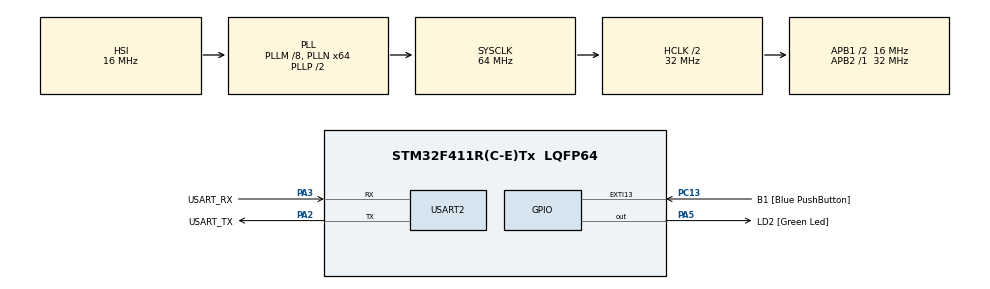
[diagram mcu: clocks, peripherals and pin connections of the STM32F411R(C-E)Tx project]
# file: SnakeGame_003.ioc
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Mcu.Family=STM32F4
Mcu.Name=STM32F411R(C-E)Tx
Mcu.Package=LQFP64
NVIC.PriorityGroup=NVIC_PRIORITYGROUP_0
NVIC.TIM2_IRQn=true\:0\:0\:false\:false\:true\:true\:true
NVIC.USART2_IRQn=true\:0\:0\:false\:false\:true\:true\:true
PA13.GPIO_Label=TMS
PA13.Mode=Serial_Wire
PA13.Signal=SYS_JTMS-SWDIO
PA14.GPIO_Label=TCK
PA14.Mode=Serial_Wire
PA14.Signal=SYS_JTCK-SWCLK
PA2.GPIO_Label=USART_TX
PA2.Mode=Asynchronous
PA2.Signal=USART2_TX
PA3.GPIO_Label=USART_RX
PA3.Mode=Asynchronous
PA3.Signal=USART2_RX
PA5.GPIO_Label=LD2 [Green Led]
PA5.Signal=GPIO_Output
PB3.GPIO_Label=SWO
PB3.Signal=SYS_JTDO-SWO
PC13-ANTI_TAMP.GPIO_Label=B1 [Blue PushButton]
PC13-ANTI_TAMP.GPIO_ModeDefaultEXTI=GPIO_MODE_IT_FALLING
PC13-ANTI_TAMP.Signal=GPXTI13
PC14-OSC32_IN.Mode=LSE-External-Oscillator
PC14-OSC32_IN.Signal=RCC_OSC32_IN
PC15-OSC32_OUT.Mode=LSE-External-Oscillator
PC15-OSC32_OUT.Signal=RCC_OSC32_OUT
PH0\ -\ OSC_IN.Mode=HSE-External-Clock-Source
PH0\ -\ OSC_IN.Signal=RCC_OSC_IN
PH1\ -\ OSC_OUT.Mode=HSE-External-Clock-Source
PH1\ -\ OSC_OUT.Signal=RCC_OSC_OUT
ProjectManager.HeapSize=0x200
ProjectManager.StackSize=0x400
ProjectManager.TargetToolchain=STM32CubeIDE
RCC.48MHZClocksFreq_Value=32000000
RCC.AHBCLKDivider=RCC_SYSCLK_DIV2
RCC.AHBFreq_Value=32000000
RCC.APB1CLKDivider=RCC_HCLK_DIV2
RCC.APB1Freq_Value=16000000
RCC.APB1TimFreq_Value=32000000
RCC.APB2Freq_Value=32000000
RCC.APB2TimFreq_Value=32000000
RCC.CortexFreq_Value=32000000
RCC.FLatency-AdvancedSettings=FLASH_LATENCY_1
RCC.HCLKFreq_Value=32000000
RCC.HSE_VALUE=8000000
RCC.HSI_VALUE=16000000
RCC.PLLM=8
RCC.PLLN=64
RCC.SYSCLKFreq_VALUE=64000000
RCC.SYSCLKSource=RCC_SYSCLKSOURCE_PLLCLK
RCC.VCOOutputFreq_Value=128000000
TIM2.Period=100
TIM2.Prescaler=32000
USART2.VirtualMode=VM_ASYNC
VP_TIM2_VS_ClockSourceINT.Mode=Internal
board=NUCLEO-F411RE

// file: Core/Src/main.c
/* USER CODE BEGIN Header */
/**
  ******************************************************************************
  * @file           : main.c
  * @brief          : Main program body
  ******************************************************************************
  * @attention
  *
  * <h2><center>&copy; Copyright (c) 2020 STMicroelectronics.
  * All rights reserved.</center></h2>
  *
  * This software component is licensed by ST under BSD 3-Clause license,
  * the "License"; You may not use this file except in compliance with the
  * License. You may obtain a copy of the License at:
  *                        opensource.org/licenses/BSD-3-Clause
  *
  ******************************************************************************
  */
/* USER CODE END Header */

#include "main.h"

/* USER CODE BEGIN PTD */
/* Initial variables */
char scene[1920];
char buffer[1];
char clearSceen_code[13]  = "\033[2J\033[H";
int update = 0;
int secondX = 0;
int minuteX = 0;
int hourX = 0;
int countX = 0;
/* USER CODE END PTD */

TIM_HandleTypeDef htim2;

UART_HandleTypeDef huart2;

void SystemClock_Config(void);
static void MX_GPIO_Init(void);
static void MX_USART2_UART_Init(void);
static void MX_TIM2_Init(void);

int main(void)
{

  /* MCU Configuration--------------------------------------------------------*/

  /* Reset of all peripherals, Initializes the Flash interface and the Systick. */
  HAL_Init();

  /* Configure the system clock */
  SystemClock_Config();

  /* Initialize all configured peripherals */
  MX_GPIO_Init();
  MX_USART2_UART_Init();
  MX_TIM2_Init();
  /* USER CODE BEGIN 2 */
  HAL_TIM_Base_Start_IT(&htim2);
  HAL_UART_Receive_IT( &huart2, buffer, 1);
  scene_clear(scene);
  scene_mainmenu(scene);
  /* USER CODE END 2 */

  /* Infinite loop */
  while (1)
  {
    /* USER CODE BEGIN 3 */
	  if (update == 1){
			HAL_UART_Transmit( &huart2, clearSceen_code, 13, 100000);
			snake_move(scene);
			snake_newFood(scene);
			snake_newObstacle(scene);
			HAL_UART_Transmit( &huart2, scene, 1920, 100000);
			update = 0;
	  }
  }
  /* USER CODE END 3 */
}

void SystemClock_Config(void)
{
  RCC_OscInitTypeDef RCC_OscInitStruct = {0};
  RCC_ClkInitTypeDef RCC_ClkInitStruct = {0};

  /** Configure the main internal regulator output voltage
  */
  __HAL_RCC_PWR_CLK_ENABLE();
  __HAL_PWR_VOLTAGESCALING_CONFIG(PWR_REGULATOR_VOLTAGE_SCALE1);
  /** Initializes the CPU, AHB and APB busses clocks
  */
  RCC_OscInitStruct.OscillatorType = RCC_OSCILLATORTYPE_HSI;
  RCC_OscInitStruct.HSIState = RCC_HSI_ON;
  RCC_OscInitStruct.HSICalibrationValue = RCC_HSICALIBRATION_DEFAULT;
  RCC_OscInitStruct.PLL.PLLState = RCC_PLL_ON;
  RCC_OscInitStruct.PLL.PLLSource = RCC_PLLSOURCE_HSI;
  RCC_OscInitStruct.PLL.PLLM = 8;
  RCC_OscInitStruct.PLL.PLLN = 64;
  RCC_OscInitStruct.PLL.PLLP = RCC_PLLP_DIV2;
  RCC_OscInitStruct.PLL.PLLQ = 4;
  if (HAL_RCC_OscConfig(&RCC_OscInitStruct) != HAL_OK)
  {
    Error_Handler();
  }
  /** Initializes the CPU, AHB and APB busses clocks
  */
  RCC_ClkInitStruct.ClockType = RCC_CLOCKTYPE_HCLK|RCC_CLOCKTYPE_SYSCLK
                              |RCC_CLOCKTYPE_PCLK1|RCC_CLOCKTYPE_PCLK2;
  RCC_ClkInitStruct.SYSCLKSource = RCC_SYSCLKSOURCE_PLLCLK;
  RCC_ClkInitStruct.AHBCLKDivider = RCC_SYSCLK_DIV2;
  RCC_ClkInitStruct.APB1CLKDivider = RCC_HCLK_DIV2;
  RCC_ClkInitStruct.APB2CLKDivider = RCC_HCLK_DIV1;

  if (HAL_RCC_ClockConfig(&RCC_ClkInitStruct, FLASH_LATENCY_1) != HAL_OK)
  {
    Error_Handler();
  }
}

static void MX_TIM2_Init(void)
{

  TIM_ClockConfigTypeDef sClockSourceConfig = {0};
  TIM_MasterConfigTypeDef sMasterConfig = {0};

  htim2.Instance = TIM2;
  htim2.Init.Prescaler = 32000;
  htim2.Init.CounterMode = TIM_COUNTERMODE_UP;
  htim2.Init.Period = 100;
  htim2.Init.ClockDivision = TIM_CLOCKDIVISION_DIV1;
  htim2.Init.AutoReloadPreload = TIM_AUTORELOAD_PRELOAD_DISABLE;
  if (HAL_TIM_Base_Init(&htim2) != HAL_OK)
  {
    Error_Handler();
  }
  sClockSourceConfig.ClockSource = TIM_CLOCKSOURCE_INTERNAL;
  if (HAL_TIM_ConfigClockSource(&htim2, &sClockSourceConfig) != HAL_OK)
  {
    Error_Handler();
  }
  sMasterConfig.MasterOutputTrigger = TIM_TRGO_RESET;
  sMasterConfig.MasterSlaveMode = TIM_MASTERSLAVEMODE_DISABLE;
  if (HAL_TIMEx_MasterConfigSynchronization(&htim2, &sMasterConfig) != HAL_OK)
  {
    Error_Handler();
  }

}

static void MX_USART2_UART_Init(void)
{

  huart2.Instance = USART2;
  huart2.Init.BaudRate = 115200;
  huart2.Init.WordLength = UART_WORDLENGTH_8B;
  huart2.Init.StopBits = UART_STOPBITS_1;
  huart2.Init.Parity = UART_PARITY_NONE;
  huart2.Init.Mode = UART_MODE_TX_RX;
  huart2.Init.HwFlowCtl = UART_HWCONTROL_NONE;
  huart2.Init.OverSampling = UART_OVERSAMPLING_16;
  if (HAL_UART_Init(&huart2) != HAL_OK)
  {
    Error_Handler();
  }

}

static void MX_GPIO_Init(void)
{
  GPIO_InitTypeDef GPIO_InitStruct = {0};

  /* GPIO Ports Clock Enable */
  __HAL_RCC_GPIOC_CLK_ENABLE();
  __HAL_RCC_GPIOH_CLK_ENABLE();
  __HAL_RCC_GPIOA_CLK_ENABLE();
  __HAL_RCC_GPIOB_CLK_ENABLE();

  /*Configure GPIO pin Output Level */
  HAL_GPIO_WritePin(LD2_GPIO_Port, LD2_Pin, GPIO_PIN_RESET);

  /*Configure GPIO pin : B1_Pin */
  GPIO_InitStruct.Pin = B1_Pin;
  GPIO_InitStruct.Mode = GPIO_MODE_IT_FALLING;
  GPIO_InitStruct.Pull = GPIO_NOPULL;
  HAL_GPIO_Init(B1_GPIO_Port, &GPIO_InitStruct);

  /*Configure GPIO pin : LD2_Pin */
  GPIO_InitStruct.Pin = LD2_Pin;
  GPIO_InitStruct.Mode = GPIO_MODE_OUTPUT_PP;
  GPIO_InitStruct.Pull = GPIO_NOPULL;
  GPIO_InitStruct.Speed = GPIO_SPEED_FREQ_LOW;
  HAL_GPIO_Init(LD2_GPIO_Port, &GPIO_InitStruct);

}

/* USER CODE BEGIN 4 */

void HAL_TIM_PeriodElapsedCallback(TIM_HandleTypeDef *htim){
	update = 1;
}

void HAL_UART_RxCpltCallback(UART_HandleTypeDef *huart){
    /* Get character from UART. Note that does not read two byte characters like arrows. */
    switch(buffer[0]) {
    case 'w' :
        snake_setDirection(UP);
        break;
    case 'W' :
        snake_setDirection(UP);
        break;
        /* Move snake in DOWN direction if allowed */
    case 's' :
        snake_setDirection(DOWN);
        break;
    case 'S' :
        snake_setDirection(DOWN);
        break;
        /* Move snake in LEFT direction if allowed */
    case 'a' :
        snake_setDirection(LEFT);
        break;
    case 'A' :
        snake_setDirection(LEFT);
        break;
        /* Move snake in RIGHT direction if allowed */
    case 'd' :
        snake_setDirection(RIGHT);
        break;
    case 'D' :
        snake_setDirection(RIGHT);
        break;
    case 'K' :
    	scene_clear(scene);
    	snake_init(scene);
    	break;
    case 'k' :
    	scene_clear(scene);
        snake_init(scene);
        break;
    /* press 'f' for test only */
    case 'f' :
    	snake_feed(1, scene);
    	break ;
    case 'F' :
        snake_feed(1, scene);
        break ;
    default :
        break;
    }
    /* Restart the interrupt reception mode */
    HAL_UART_Receive_IT( &huart2, buffer, 1);
}
void HAL_UART_TxCpltCallback(UART_HandleTypeDef *huart){

}
/* USER CODE END 4 */

void Error_Handler(void)
{
}

/************************ (C) COPYRIGHT STMicroelectronics *****END OF FILE****/
